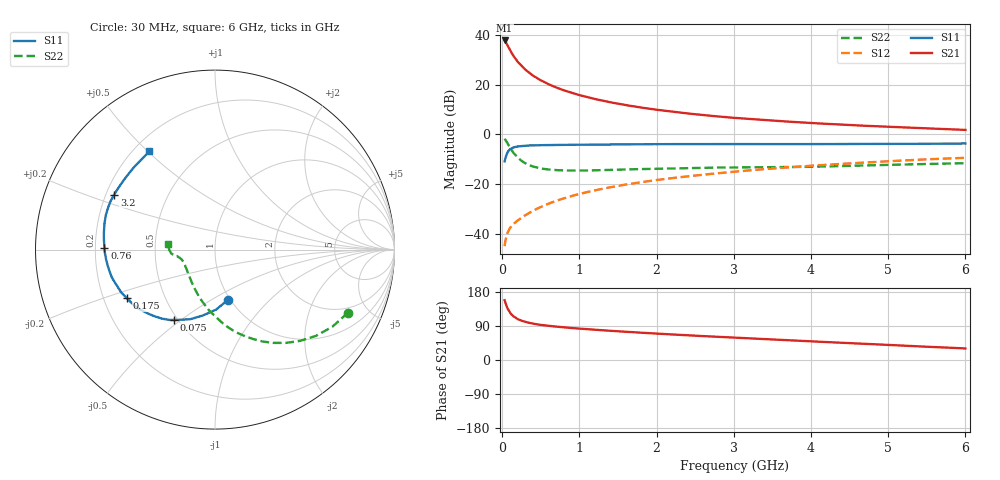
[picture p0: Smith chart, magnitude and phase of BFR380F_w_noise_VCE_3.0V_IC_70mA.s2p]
! Infineon Technologies  Discrete & RF Semiconductors
! BFR380F
! VCE =  3.0 V,  IC =  70 mA
! Common Emitter S-Parameters:  Nov 2015
# GHz  S  MA  R  50
!  f  S11  S21  S12  S22
! GHz  MAG  ANG  MAG  ANG  MAG  ANG  MAG  ANG
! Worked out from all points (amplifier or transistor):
!   206 points, 30 MHz to 6 GHz, reference 50 ohm
!   highest |S21| = 37.7 dB at 30 MHz (marker M1)
!   |S21| within 3 dB of that: start of sweep to 84.86 MHz
!   unconditionally stable (mu >= 1): 671.5 MHz to 4.768 GHz
!   at 200 MHz: K = 0.72, MSG = 31.9 dB, |S12| = -34.6 dB
!   at 1.56 GHz: K = 1.05, MAG = 14.8 dB, |S12| = -20.3 dB
!   at 6 GHz: K = 0.98, MSG = 5.6 dB, |S12| = -9.4 dB
!   lowest NFmin = 1.81 dB at 900 MHz
!   S11 on the Smith chart (normalised r, x): 30 MHz: 0.98, -0.60; 75 MHz: 0.48, -0.47; 175 MHz: 0.30, -0.24; 760 MHz: 0.24, +0.01; 3.2 GHz: 0.23, +0.24; 6 GHz: 0.26, +0.51
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0.03  0.2881 -75.0  77.08 157.7  0.0057 76.6  0.8203 -25.4
0.04  0.3341 -88.9  73.23 151.2  0.0073 72.1  0.7824 -33.3
0.05  0.3731 -100.4  69.15 144.9  0.0085 68.2  0.74 -40.5
0.065  0.4249 -113.5  62.44 137.7  0.0103 64.2  0.6735 -49.8
0.075  0.4533 -120.2  58.36 133.5  0.0112 62.4  0.6322 -55.3
0.095  0.493 -129.9  50.98 126.6  0.0129 60.0  0.5585 -64.7
0.12  0.5251 -139.1  43.53 120.1  0.0144 58.4  0.4842 -74.4
0.15  0.5505 -146.8  36.72 114.4  0.0161 58.0  0.4171 -83.5
0.175  0.5608 -151.2  32.67 111.5  0.0174 58.8  0.3776 -88.8
0.2  0.5743 -155.4  28.73 107.9  0.0187 59.5  0.3421 -95.3
0.26  0.5868 -161.7  22.83 103.0  0.0218 61.7  0.2879 -106.0
0.3  0.5953 -164.9  19.88 100.4  0.0239 63.2  0.263 -112.2
0.4  0.6028 -170.4  15.11 95.9  0.0294 66.4  0.2267 -124.1
0.6  0.6127 -177.2  10.18 90.1  0.0407 70.2  0.1974 -140.1
0.76  0.616 179.3  8.096 86.9  0.0499 71.8  0.19 -148.1
1.04  0.6218 174.4  5.93 82.1  0.0661 73.0  0.1882 -157.1
2.02  0.6379 162.5  3.104 69.5  0.1224 71.9  0.2053 -167.8
3.1  0.6401 152.4  2.1 58.1  0.1838 68.1  0.2177 -170.5
3.2  0.6396 151.4  2.046 57.2  0.1895 67.6  0.2182 -170.5
4.1  0.6391 142.7  1.662 48.2  0.2403 63.4  0.2254 -171.1
5.1  0.6442 133.4  1.403 38.9  0.2945 58.3  0.247 -176.1
6  0.6582 123.7  1.232 30.5  0.3395 52.7  0.2647 173.7
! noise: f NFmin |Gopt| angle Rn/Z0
0.45  1.82  0.48  -174  0.08
0.9  1.81  0.5  -171  0.08
1.8  2.07  0.53  -159  0.11
1.9  2.18  0.54  -159  0.11
2.4  2.25  0.55  -150  0.15
3.5  2.95  0.58  -140  0.28
